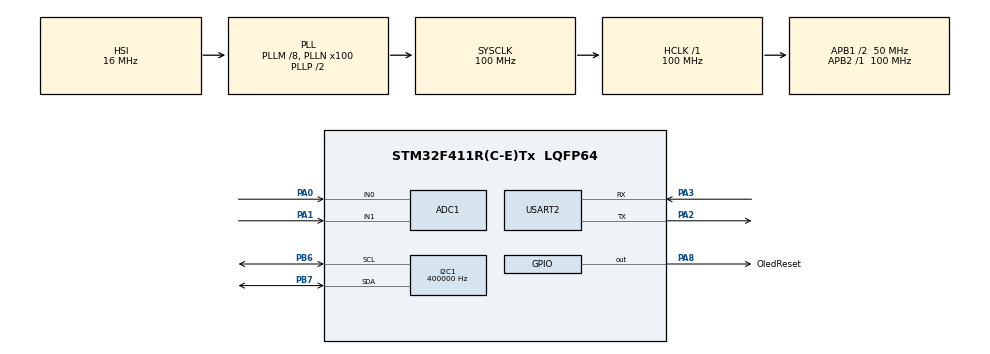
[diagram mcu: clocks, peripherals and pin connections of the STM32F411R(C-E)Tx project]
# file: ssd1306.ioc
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ADC1.Channel-0\#ChannelRegularConversion=ADC_CHANNEL_0
ADC1.Channel-1\#ChannelInjectedConversion=ADC_CHANNEL_0
ADC1.Channel-2\#ChannelInjectedConversion=ADC_CHANNEL_1
ADC1.Channel-3\#ChannelRegularConversion=ADC_CHANNEL_1
ADC1.ContinuousConvMode=ENABLE
ADC1.DMAContinuousRequests=ENABLE
ADC1.InjNumberOfConversion=2
ADC1.InjectedOffset-1\#ChannelInjectedConversion=0
ADC1.InjectedOffset-2\#ChannelInjectedConversion=0
ADC1.InjectedRank-1\#ChannelInjectedConversion=1
ADC1.InjectedRank-2\#ChannelInjectedConversion=2
ADC1.NbrOfConversion=2
ADC1.NbrOfConversionFlag=1
ADC1.Rank-0\#ChannelRegularConversion=1
ADC1.Rank-3\#ChannelRegularConversion=2
ADC1.SamplingTime-0\#ChannelRegularConversion=ADC_SAMPLETIME_84CYCLES
ADC1.SamplingTime-1\#ChannelInjectedConversion=ADC_SAMPLETIME_84CYCLES
ADC1.SamplingTime-2\#ChannelInjectedConversion=ADC_SAMPLETIME_84CYCLES
ADC1.SamplingTime-3\#ChannelRegularConversion=ADC_SAMPLETIME_84CYCLES
ADC1.ScanConvMode=ENABLE
ADC1.master=1
Dma.ADC1.0.Direction=DMA_PERIPH_TO_MEMORY
Dma.ADC1.0.FIFOMode=DMA_FIFOMODE_DISABLE
Dma.ADC1.0.Instance=DMA2_Stream0
Dma.ADC1.0.MemDataAlignment=DMA_MDATAALIGN_HALFWORD
Dma.ADC1.0.MemInc=DMA_MINC_ENABLE
Dma.ADC1.0.Mode=DMA_CIRCULAR
Dma.ADC1.0.PeriphDataAlignment=DMA_PDATAALIGN_HALFWORD
Dma.ADC1.0.PeriphInc=DMA_PINC_DISABLE
Dma.ADC1.0.Priority=DMA_PRIORITY_LOW
Dma.Request0=ADC1
I2C1.ClockSpeed=400000
I2C1.I2C_Mode=I2C_Fast
Mcu.Family=STM32F4
Mcu.Name=STM32F411R(C-E)Tx
Mcu.Package=LQFP64
NVIC.DMA2_Stream0_IRQn=true\:0\:0\:false\:false\:true\:false\:true\:true
NVIC.PriorityGroup=NVIC_PRIORITYGROUP_4
NVIC.USART2_IRQn=true\:0\:0\:false\:false\:true\:true\:true\:true
PA0-WKUP.Signal=ADCx_IN0
PA1.Signal=ADCx_IN1
PA2.Mode=Asynchronous
PA2.Signal=USART2_TX
PA3.Mode=Asynchronous
PA3.Signal=USART2_RX
PA8.GPIO_Label=OledReset
PA8.Signal=GPIO_Output
PB6.GPIO_Pu=GPIO_PULLUP
PB6.Mode=I2C
PB6.Signal=I2C1_SCL
PB7.GPIO_Pu=GPIO_PULLUP
PB7.Mode=I2C
PB7.Signal=I2C1_SDA
ProjectManager.HeapSize=0x200
ProjectManager.StackSize=0x400
ProjectManager.TargetToolchain=STM32CubeIDE
RCC.48MHZClocksFreq_Value=50000000
RCC.AHBFreq_Value=100000000
RCC.APB1CLKDivider=RCC_HCLK_DIV2
RCC.APB1Freq_Value=50000000
RCC.APB1TimFreq_Value=100000000
RCC.APB2Freq_Value=100000000
RCC.APB2TimFreq_Value=100000000
RCC.CortexFreq_Value=100000000
RCC.HCLKFreq_Value=100000000
RCC.HSE_VALUE=25000000
RCC.HSI_VALUE=16000000
RCC.LSE_VALUE=32768
RCC.PLLM=8
RCC.PLLN=100
RCC.SYSCLKFreq_VALUE=100000000
RCC.SYSCLKSource=RCC_SYSCLKSOURCE_PLLCLK
RCC.VCOOutputFreq_Value=200000000
SH.ADCx_IN0.0=ADC1_IN0,IN0
SH.ADCx_IN1.0=ADC1_IN1,IN1
USART2.VirtualMode=VM_ASYNC
board=custom

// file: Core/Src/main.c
/* USER CODE BEGIN Header */
/**
  ******************************************************************************
  * @file           : main.c
  * @brief          : Main program body
  ******************************************************************************
  * @attention
  *
  * Copyright (c) 2024 STMicroelectronics.
  * All rights reserved.
  *
  * This software is licensed under terms that can be found in the LICENSE file
  * in the root directory of this software component.
  * If no LICENSE file comes with this software, it is provided AS-IS.
  *
  ******************************************************************************
  */
/* USER CODE END Header */
#include "main.h"

/* USER CODE BEGIN Includes */
#include "uart.h"
#include "ssd1306.h"
#include "hangul.h"
#include "hangulStringTable.h"
/* USER CODE END Includes */

ADC_HandleTypeDef hadc1;
DMA_HandleTypeDef hdma_adc1;

I2C_HandleTypeDef hi2c1;

UART_HandleTypeDef huart2;

void SystemClock_Config(void);
static void MX_GPIO_Init(void);
static void MX_DMA_Init(void);
static void MX_I2C1_Init(void);
static void MX_USART2_UART_Init(void);
static void MX_ADC1_Init(void);

/* USER CODE BEGIN 0 */
#define DevAddress 0xA0 // for 24lc64
void writeEeprom(uint16_t address, uint8_t data) {
//	uint8_t txBuffer[3];
//	txBuffer[0] = address >> 8;
//	txBuffer[1] = address;
//	txBuffer[2] = data;
//	HAL_I2C_Master_Transmit(&hi2c1, DevAddress, txBuffer, sizeof(txBuffer), 10);
	HAL_I2C_Mem_Write(&hi2c1, DevAddress, address, 2, &data, 1, 10);
	HAL_Delay(5);
}

void writeEeprom32(uint16_t address, uint32_t data) {
	uint8_t txBuffer[4];
	memcpy(txBuffer, &data, 4);
	HAL_I2C_Mem_Write(&hi2c1, DevAddress, address, 2, txBuffer, 4, 10);
	HAL_Delay(5);
}

uint8_t readEeprom(uint16_t address) {
//	uint8_t txBuffer[2];
	uint8_t rxBuffer;
//	txBuffer[0] = address >> 8;
//	txBuffer[1] = address;
//	HAL_I2C_Master_Transmit(&hi2c1, DevAddress, txBuffer, sizeof(txBuffer), 10);
//	HAL_I2C_Master_Receive(&hi2c1, DevAddress, &rxBuffer, 1, 10);
	HAL_I2C_Mem_Read(&hi2c1, DevAddress, address, 2, &rxBuffer, 1, 10);
	return rxBuffer;
}

uint32_t readEeprom32(uint16_t address) {
	uint8_t rxBuffer[4];
	uint32_t result;
	HAL_I2C_Mem_Read(&hi2c1, DevAddress, address, 2, rxBuffer, 4, 10);
	memcpy(&result, rxBuffer, 4);
	return result;
}

void scanI2C() {
	printf("scan i2c address\n");
	for(int address = 0; address < 256; address++) {
		if(HAL_I2C_IsDeviceReady(&hi2c1, address, 0, 10) == HAL_OK)
			printf("found = 0x%x\n", address);
	}
	printf("end scan\n");
}
extern uint8_t SSD1306_Buffer[SSD1306_BUFFER_SIZE];
/* USER CODE END 0 */

int main(void)
{

  /* MCU Configuration--------------------------------------------------------*/

  /* Reset of all peripherals, Initializes the Flash interface and the Systick. */
  HAL_Init();

  /* Configure the system clock */
  SystemClock_Config();

  /* Initialize all configured peripherals */
  MX_GPIO_Init();
  MX_DMA_Init();
  MX_I2C1_Init();
  MX_USART2_UART_Init();
  MX_ADC1_Init();
  /* USER CODE BEGIN 2 */
  initUart(&huart2);
  ssd1306_Init();

  uint16_t adcValue[2];
  HAL_ADC_Start_DMA(&hadc1, (uint32_t *)adcValue, 2);
  /* USER CODE END 2 */

  /* Infinite loop */
  /* USER CODE BEGIN WHILE */
  ssd1306_SetCursor(0, 0);
  ssd1306_WriteString("hello world", Font_6x8, 1);
  outtextxy_hans(0, 0, hello);
  outtextxy_hans(0, 1, string2);
  outtextxy_hans(0, 2, string3);
  outtextxy_hans(0, 3, string4);
  ssd1306_UpdateScreen();
  ssd1306_ScrollLeft(0, 7);
  while(1);
  while (1)
  {
  	scrollLeftBySoft();
  	ssd1306_DrawPixel(127, adcValue[1]/64, 1);
  	ssd1306_UpdateScreen();
  	HAL_Delay(50);
    /* USER CODE END WHILE */

  }
}

void SystemClock_Config(void)
{
  RCC_OscInitTypeDef RCC_OscInitStruct = {0};
  RCC_ClkInitTypeDef RCC_ClkInitStruct = {0};

  /** Configure the main internal regulator output voltage
  */
  __HAL_RCC_PWR_CLK_ENABLE();
  __HAL_PWR_VOLTAGESCALING_CONFIG(PWR_REGULATOR_VOLTAGE_SCALE1);

  /** Initializes the RCC Oscillators according to the specified parameters
  * in the RCC_OscInitTypeDef structure.
  */
  RCC_OscInitStruct.OscillatorType = RCC_OSCILLATORTYPE_HSI;
  RCC_OscInitStruct.HSIState = RCC_HSI_ON;
  RCC_OscInitStruct.HSICalibrationValue = RCC_HSICALIBRATION_DEFAULT;
  RCC_OscInitStruct.PLL.PLLState = RCC_PLL_ON;
  RCC_OscInitStruct.PLL.PLLSource = RCC_PLLSOURCE_HSI;
  RCC_OscInitStruct.PLL.PLLM = 8;
  RCC_OscInitStruct.PLL.PLLN = 100;
  RCC_OscInitStruct.PLL.PLLP = RCC_PLLP_DIV2;
  RCC_OscInitStruct.PLL.PLLQ = 4;
  if (HAL_RCC_OscConfig(&RCC_OscInitStruct) != HAL_OK)
  {
    Error_Handler();
  }

  /** Initializes the CPU, AHB and APB buses clocks
  */
  RCC_ClkInitStruct.ClockType = RCC_CLOCKTYPE_HCLK|RCC_CLOCKTYPE_SYSCLK
                              |RCC_CLOCKTYPE_PCLK1|RCC_CLOCKTYPE_PCLK2;
  RCC_ClkInitStruct.SYSCLKSource = RCC_SYSCLKSOURCE_PLLCLK;
  RCC_ClkInitStruct.AHBCLKDivider = RCC_SYSCLK_DIV1;
  RCC_ClkInitStruct.APB1CLKDivider = RCC_HCLK_DIV2;
  RCC_ClkInitStruct.APB2CLKDivider = RCC_HCLK_DIV1;

  if (HAL_RCC_ClockConfig(&RCC_ClkInitStruct, FLASH_LATENCY_3) != HAL_OK)
  {
    Error_Handler();
  }
}

static void MX_ADC1_Init(void)
{

  ADC_ChannelConfTypeDef sConfig = {0};

  /** Configure the global features of the ADC (Clock, Resolution, Data Alignment and number of conversion)
  */
  hadc1.Instance = ADC1;
  hadc1.Init.ClockPrescaler = ADC_CLOCK_SYNC_PCLK_DIV4;
  hadc1.Init.Resolution = ADC_RESOLUTION_12B;
  hadc1.Init.ScanConvMode = ENABLE;
  hadc1.Init.ContinuousConvMode = ENABLE;
  hadc1.Init.DiscontinuousConvMode = DISABLE;
  hadc1.Init.ExternalTrigConvEdge = ADC_EXTERNALTRIGCONVEDGE_NONE;
  hadc1.Init.ExternalTrigConv = ADC_SOFTWARE_START;
  hadc1.Init.DataAlign = ADC_DATAALIGN_RIGHT;
  hadc1.Init.NbrOfConversion = 2;
  hadc1.Init.DMAContinuousRequests = ENABLE;
  hadc1.Init.EOCSelection = ADC_EOC_SINGLE_CONV;
  if (HAL_ADC_Init(&hadc1) != HAL_OK)
  {
    Error_Handler();
  }

  /** Configure for the selected ADC regular channel its corresponding rank in the sequencer and its sample time.
  */
  sConfig.Channel = ADC_CHANNEL_0;
  sConfig.Rank = 1;
  sConfig.SamplingTime = ADC_SAMPLETIME_84CYCLES;
  if (HAL_ADC_ConfigChannel(&hadc1, &sConfig) != HAL_OK)
  {
    Error_Handler();
  }

  /** Configure for the selected ADC regular channel its corresponding rank in the sequencer and its sample time.
  */
  sConfig.Channel = ADC_CHANNEL_1;
  sConfig.Rank = 2;
  if (HAL_ADC_ConfigChannel(&hadc1, &sConfig) != HAL_OK)
  {
    Error_Handler();
  }

}

static void MX_I2C1_Init(void)
{

  hi2c1.Instance = I2C1;
  hi2c1.Init.ClockSpeed = 400000;
  hi2c1.Init.DutyCycle = I2C_DUTYCYCLE_2;
  hi2c1.Init.OwnAddress1 = 0;
  hi2c1.Init.AddressingMode = I2C_ADDRESSINGMODE_7BIT;
  hi2c1.Init.DualAddressMode = I2C_DUALADDRESS_DISABLE;
  hi2c1.Init.OwnAddress2 = 0;
  hi2c1.Init.GeneralCallMode = I2C_GENERALCALL_DISABLE;
  hi2c1.Init.NoStretchMode = I2C_NOSTRETCH_DISABLE;
  if (HAL_I2C_Init(&hi2c1) != HAL_OK)
  {
    Error_Handler();
  }

}

static void MX_USART2_UART_Init(void)
{

  huart2.Instance = USART2;
  huart2.Init.BaudRate = 115200;
  huart2.Init.WordLength = UART_WORDLENGTH_8B;
  huart2.Init.StopBits = UART_STOPBITS_1;
  huart2.Init.Parity = UART_PARITY_NONE;
  huart2.Init.Mode = UART_MODE_TX_RX;
  huart2.Init.HwFlowCtl = UART_HWCONTROL_NONE;
  huart2.Init.OverSampling = UART_OVERSAMPLING_16;
  if (HAL_UART_Init(&huart2) != HAL_OK)
  {
    Error_Handler();
  }

}

static void MX_DMA_Init(void)
{

  /* DMA controller clock enable */
  __HAL_RCC_DMA2_CLK_ENABLE();

  /* DMA interrupt init */
  /* DMA2_Stream0_IRQn interrupt configuration */
  HAL_NVIC_SetPriority(DMA2_Stream0_IRQn, 0, 0);
  HAL_NVIC_EnableIRQ(DMA2_Stream0_IRQn);

}

static void MX_GPIO_Init(void)
{
  GPIO_InitTypeDef GPIO_InitStruct = {0};

  /* GPIO Ports Clock Enable */
  __HAL_RCC_GPIOA_CLK_ENABLE();
  __HAL_RCC_GPIOB_CLK_ENABLE();

  /*Configure GPIO pin Output Level */
  HAL_GPIO_WritePin(OledReset_GPIO_Port, OledReset_Pin, GPIO_PIN_RESET);

  /*Configure GPIO pin : OledReset_Pin */
  GPIO_InitStruct.Pin = OledReset_Pin;
  GPIO_InitStruct.Mode = GPIO_MODE_OUTPUT_PP;
  GPIO_InitStruct.Pull = GPIO_NOPULL;
  GPIO_InitStruct.Speed = GPIO_SPEED_FREQ_LOW;
  HAL_GPIO_Init(OledReset_GPIO_Port, &GPIO_InitStruct);

}

void Error_Handler(void)
{
  __disable_irq();
  while (1)
  {
  }
}
